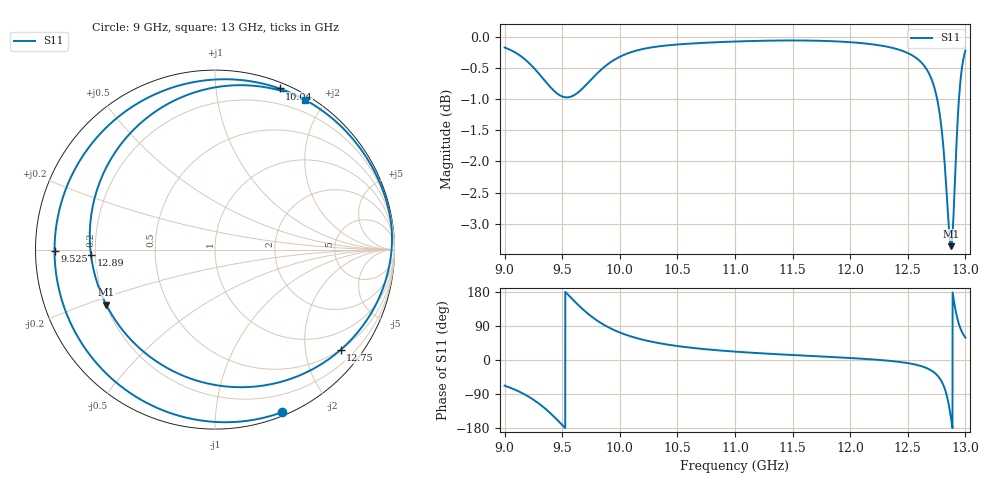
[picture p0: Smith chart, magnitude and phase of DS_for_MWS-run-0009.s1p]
! TOUCHSTONE file generated by CST DESIGN STUDIO
! Date and time: Tue Feb  4 16:27:51 2025
! Project name: C:\Work\MatlabApps\UnitCellOptimizationMatlab\CST\unitcell.cst
! Tree item: Tasks\Sweep1\SPara1\S-Parameters
! Header version: 2024
! Port assignment regex: !\s*Touchstone port\s*([0-9]+)\s*=\s*(CST MWS port|CST DES external port|CST DES block port)\s*(.+)\s* \(\"(.*)\"\)(\s*mode\s*([0-9]+))?.*
! Touchstone port assignment:
! Touchstone port 1 = CST DES external port 1 ("")
# GHz S MA R 50
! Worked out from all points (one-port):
!   4001 points, 9 GHz to 13 GHz, reference 50 ohm
!   lowest |S11| = -3.4 dB at 12.88 GHz (marker M1), VSWR 5.24, Z = 10.1 - j11.5 ohm
!   |S11| at or under -10 dB: nowhere
!   S11 on the Smith chart (normalised r, x): 9 GHz: 0.03, -1.49; 9.525 GHz: 0.06, -0.01; 10.04 GHz: 0.05, +1.48; 12.75 GHz: 0.49, -2.78; 12.89 GHz: 0.18, -0.02; 13 GHz: 0.05, +1.76
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9  0.98 -67.7
9.166  0.9606 -89.5
9.284  0.9371 -111.9
9.387  0.9133 -137.5
9.5  0.8954 -171.4
9.525  0.8942 -179.4
9.618  0.8993 151.4
9.743  0.9221 117.4
9.854  0.9436 94.3
10  0.9634 72.6
10.038  0.967 68.2
10.238  0.9789 50.8
10.5  0.9855 36.8
11  0.991 22.1
11.5  0.9929 13.1
12  0.9897 5.2
12.5  0.9701 -8.2
12.661  0.9422 -21.0
12.75  0.8954 -38.6
12.794  0.8425 -56.9
12.831  0.7649 -85.4
12.854  0.7066 -115.2
12.875  0.6793 -153.1
12.887  0.6919 -177.6
12.907  0.7569 143.9
12.935  0.8645 104.0
12.97  0.9438 74.2
13  0.9745 59.0
